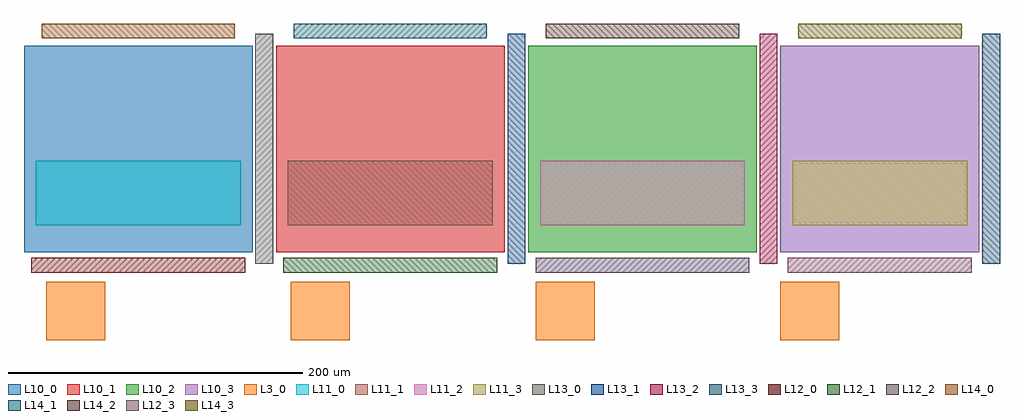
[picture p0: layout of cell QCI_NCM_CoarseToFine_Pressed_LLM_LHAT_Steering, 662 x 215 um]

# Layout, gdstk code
import gdstk
lib = gdstk.Library(unit=1e-6, precision=1e-09)
def R(c, l, rs):  # rectangles x0, y0, x1, y1
    for r in rs: c.add(gdstk.rectangle(r[:2], r[2:], *l))
def A(c, l, x, y, w, h, nx, ny, dx, dy):  # array of equal rectangles
    R(c, l, [(x+i*dx, y+j*dy, x+i*dx+w, y+j*dy+h) for i in range(nx) for j in range(ny)])
L3_0 = (3, 0)
L10_0 = (10, 0)
L10_1 = (10, 1)
L10_2 = (10, 2)
L10_3 = (10, 3)
L11_0 = (11, 0)
L11_1 = (11, 1)
L11_2 = (11, 2)
L11_3 = (11, 3)
L12_0 = (12, 0)
L12_1 = (12, 1)
L12_2 = (12, 2)
L12_3 = (12, 3)
L13_0 = (13, 0)
L13_1 = (13, 1)
L13_2 = (13, 2)
L13_3 = (13, 3)
L14_0 = (14, 0)
L14_1 = (14, 1)
L14_2 = (14, 2)
L14_3 = (14, 3)

qci_ncm_coarsetofine_pre = lib.new_cell('QCI_NCM_CoarseToFine_Pressed_LLM_LHAT_Steering')
A(qci_ncm_coarsetofine_pre, L3_0, 15, -60, 40, 40, 4, 1, 166, 0)
R(qci_ncm_coarsetofine_pre, L10_0, [(0,0,155,140)])
R(qci_ncm_coarsetofine_pre, L10_1, [(171,0,326,140)])
R(qci_ncm_coarsetofine_pre, L10_2, [(342,0,497,140)])
R(qci_ncm_coarsetofine_pre, L10_3, [(513,0,648,140)])
R(qci_ncm_coarsetofine_pre, L11_0, [(8,18,147,62)])
R(qci_ncm_coarsetofine_pre, L11_1, [(179,18,318,62)])
R(qci_ncm_coarsetofine_pre, L11_2, [(350,18,489,62)])
R(qci_ncm_coarsetofine_pre, L11_3, [(521,18,640,62)])
R(qci_ncm_coarsetofine_pre, L12_0, [(5,-14,150,-4)])
R(qci_ncm_coarsetofine_pre, L12_1, [(176,-14,321,-4)])
R(qci_ncm_coarsetofine_pre, L12_2, [(347,-14,492,-4)])
R(qci_ncm_coarsetofine_pre, L12_3, [(518,-14,643,-4)])
R(qci_ncm_coarsetofine_pre, L13_0, [(157,-8,169,148)])
R(qci_ncm_coarsetofine_pre, L13_1, [(328,-8,340,148)])
R(qci_ncm_coarsetofine_pre, L13_2, [(499,-8,511,148)])
R(qci_ncm_coarsetofine_pre, L13_3, [(650,-8,662,148)])
R(qci_ncm_coarsetofine_pre, L14_0, [(12,145,143,155)])
R(qci_ncm_coarsetofine_pre, L14_1, [(183,145,314,155)])
R(qci_ncm_coarsetofine_pre, L14_2, [(354,145,485,155)])
R(qci_ncm_coarsetofine_pre, L14_3, [(525,145,636,155)])

lib.write_gds('QCI_NCM_CoarseToFine_Pressed_LLM_LHAT_Steering.gds')
